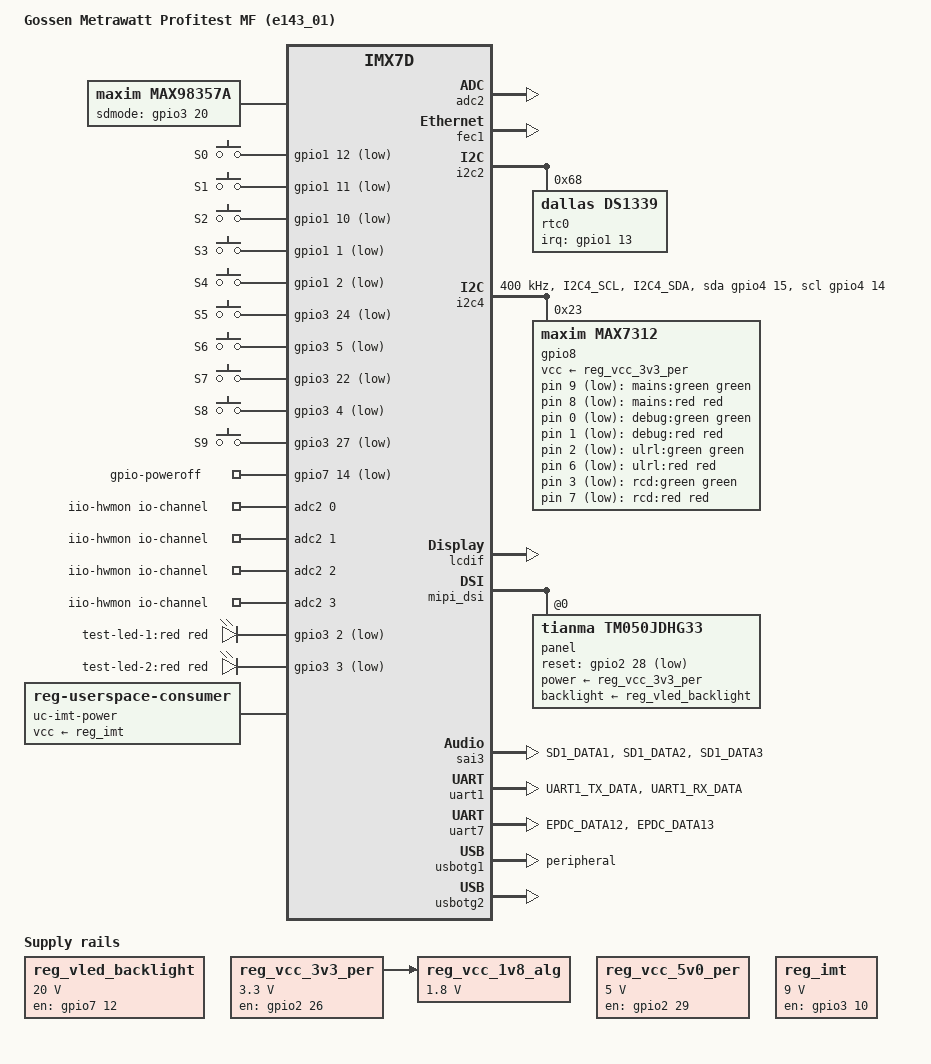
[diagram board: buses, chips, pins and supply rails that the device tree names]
// SPDX-License-Identifier: GPL-2.0-only
/**
 * Copyright (C) 2022 Gossen Metrawatt GmbH
 * Copyright (C) 2022 Marco Felsch, Pengutronix
 * Copyright (C) 2022 Philipp Zabel, Pengutronix
 * Copyright (C) 2022 Roland Hieber, Pengutronix
 */
/dts-v1/;

#include <dt-bindings/gpio/gpio.h>
#include <dt-bindings/input/input.h>
#include <dt-bindings/leds/common.h>
#include "imx7d-var-som-mx7.dtsi"

/ {
	model = "Gossen Metrawatt Profitest MF (e143_01)";
	compatible = "gome,e143_01", "variscite,var-som-mx7", "fsl,imx7d";

	aliases {
		gpio7 = &gpio8;
		rtc0 = &rtc0;
	};

	max98357a: audio-codec {
		compatible = "maxim,max98357a";
		#sound-dai-cells = <0>;
		pinctrl-names = "default";
		pinctrl-0 = <&pinctrl_sdmode>;
		sdmode-gpios = <&gpio3 20 GPIO_ACTIVE_HIGH>; // Pin 60 AUDIO_SHDN_B
	};

	gpio-keys {
		compatible = "gpio-keys";
		pinctrl-names = "default";
		pinctrl-0 = <&pinctrl_gpio_keys>, <&pinctrl_gpio_keys_2>;
		autorepeat;

		button-0 {
			label = "S0";
			gpios = <&gpio1 12 GPIO_ACTIVE_LOW>; // Pin 183 BTN_S0_ESC
			linux,code = <KEY_ESC>;
			wakeup-source;
		};

		button-1 {
			label = "S1";
			gpios = <&gpio1 11 GPIO_ACTIVE_LOW>; // Pin 185 BTN_S1_MEM
			linux,code = <KEY_DOCUMENTS>;
			wakeup-source;
		};

		button-2 {
			label = "S2";
			gpios = <&gpio1 10 GPIO_ACTIVE_LOW>; // Pin 181 BTN_S2_HLP
			linux,code = <KEY_HELP>;
			wakeup-source;
		};

		button-3 {
			label = "S3";
			gpios = <&gpio1 1 GPIO_ACTIVE_LOW>; // Pin 1 BTN_S3_STA
			linux,code = <KEY_PROG1>;
			wakeup-source;
		};

		button-4 {
			label = "S4";
			gpios = <&gpio1 2 GPIO_ACTIVE_LOW>; // Pin 168 BTN_S4_IDN
			linux,code = <KEY_PROG2>;
			wakeup-source;
		};

		button-5 {
			label = "S5";
			gpios = <&gpio3 24 GPIO_ACTIVE_LOW>; // Pin 28 BTN_S5
			linux,code = <KEY_F5>;
		};

		button-6 {
			label = "S6";
			gpios = <&gpio3 5 GPIO_ACTIVE_LOW>; // Pin 40 BTN_S6
			linux,code = <KEY_F6>;
		};

		button-7 {
			label = "S7";
			gpios = <&gpio3 22 GPIO_ACTIVE_LOW>; // Pin 38 BTN_S7
			linux,code = <KEY_F7>;
		};

		button-8 {
			label = "S8";
			gpios = <&gpio3 4 GPIO_ACTIVE_LOW>; // Pin 36 BTN_S8
			linux,code = <KEY_F8>;
		};

		button-9 {
			label = "S9";
			gpios = <&gpio3 27 GPIO_ACTIVE_LOW>; // Pin 20 BTN_S9
			linux,code = <KEY_F9>;
		};
	};

	gpio-poweroff {
		compatible = "gpio-poweroff";
		pinctrl-names = "default";
		pinctrl-0 = <&pinctrl_poweroff>;
		gpios = <&gpio7 14 GPIO_ACTIVE_LOW>; // Pin 7 POWER_OFF_B
		input;
	};

	iio-hwmon {
		compatible = "iio-hwmon";
		io-channels = <&adc2 0>, // ARS_VAL
			      <&adc2 1>, // VBAT_VAL
			      <&adc2 2>, // LCD_BACKLIGHT_VAL
			      <&adc2 3>; // VCC_5V0_FB
	};

	leds {
		compatible = "gpio-leds";
		pinctrl-names = "default";
		pinctrl-0 = <&pinctrl_debug_led>;

		test-led-1 {
			label = "test-led-1:red";
			gpios = <&gpio3 2 GPIO_ACTIVE_LOW>; // Pin 44 LED_TEST1_B
			color = <LED_COLOR_ID_RED>;
			linux,default-trigger = "disk-activity";
		};

		test-led-2 {
			label = "test-led-2:red";
			gpios = <&gpio3 3 GPIO_ACTIVE_LOW>; // Pin 46 LED_TEST2_B
			color = <LED_COLOR_ID_RED>;
			linux,default-trigger = "heartbeat";
		};
	};

	leds2 {
		compatible = "gpio-leds";

		led_netz_gn {
			label = "mains:green";
			gpios = <&gpio8 9 GPIO_ACTIVE_LOW>; // LED_NETZ_GN
			color = <LED_COLOR_ID_GREEN>;
		};

		led_netz_rt {
			label = "mains:red";
			gpios = <&gpio8 8 GPIO_ACTIVE_LOW>; // LED_NETZ_RT
			color = <LED_COLOR_ID_RED>;
			default-state = "on";
		};

		led_debug_gn {
			label = "debug:green";
			gpios = <&gpio8 0 GPIO_ACTIVE_LOW>; // LED_DEBUG_GN
			color = <LED_COLOR_ID_GREEN>;
		};

		led_debug_rt {
			label = "debug:red";
			gpios = <&gpio8 1 GPIO_ACTIVE_LOW>; // LED_DEBUG_RT
			color = <LED_COLOR_ID_RED>;
		};

		led_ul_gn {
			label = "ulrl:green";
			gpios = <&gpio8 2 GPIO_ACTIVE_LOW>; // LED_UL_GN
			color = <LED_COLOR_ID_GREEN>;
		};

		led_ul_rt {
			label = "ulrl:red";
			gpios = <&gpio8 6 GPIO_ACTIVE_LOW>; // LED_UL_RT
			color = <LED_COLOR_ID_RED>;
			default-state = "on";
		};

		led_rcd_gn {
			label = "rcd:green";
			gpios = <&gpio8 3 GPIO_ACTIVE_LOW>; // LED_RCD_GN
			color = <LED_COLOR_ID_GREEN>;
		};

		led_rcd_rt {
			label = "rcd:red";
			gpios = <&gpio8 7 GPIO_ACTIVE_LOW>; // LED_RCD_RT
			color = <LED_COLOR_ID_RED>;
			default-state = "on";
		};
	};

	reg_vled_backlight: regulator-vled-backlight {
		compatible = "regulator-fixed";
		pinctrl-names = "default";
		pinctrl-0 = <&pinctrl_mipi_backlight>;
		regulator-name = "VLED_BACKLIGHT";
		gpio = <&gpio7 12 GPIO_ACTIVE_HIGH>;
		regulator-min-microvolt = <20000000>;
		regulator-max-microvolt = <20000000>;
		enable-active-high;
	};

	reg_vcc_3v3_per: regulator-vcc-3v3-per {
		compatible = "regulator-fixed";
		pinctrl-names = "default";
		pinctrl-0 = <&pinctrl_reg_vcc_3v3_per>;
		regulator-name = "VCC_3V3_PER";
		gpio = <&gpio2 26 GPIO_ACTIVE_HIGH>; // Pin 83 VCC_3V3_PER_EN
		regulator-min-microvolt = <3300000>;
		regulator-max-microvolt = <3300000>;
		regulator-enable-ramp-delay = <30000>;
		enable-active-high;
		regulator-always-on;
	};

	reg_vcc_5v0_per: regulator-vcc-5v0-per {
		compatible = "regulator-fixed";
		pinctrl-names = "default";
		pinctrl-0 = <&pinctrl_reg_vcc_5v0_per>;
		regulator-name = "VCC_5V0_PER";
		gpio = <&gpio2 29 GPIO_ACTIVE_HIGH>; // Pin 75 VCC_5V0_PER_EN
		regulator-min-microvolt = <5000000>;
		regulator-max-microvolt = <5000000>;
		enable-active-high;
		regulator-always-on;
	};

	reg_imt: regulator-imt {
		compatible = "regulator-fixed";
		pinctrl-names = "default";
		pinctrl-0 = <&pinctrl_reg_imt>;
		regulator-name = "VCC_IMT";
		gpio = <&gpio3 10 GPIO_ACTIVE_HIGH>; // Pin 66 MT_EN
		regulator-min-microvolt = <9000000>;
		regulator-max-microvolt = <9000000>;
		enable-active-high;
	};

	reg_vcc_1v8_alg: regulator-vcc-1v8-alg {
		compatible = "regulator-fixed";
		regulator-name = "VCC_1V8_ALG";
		regulator-min-microvolt = <1800000>;
		regulator-max-microvolt = <1800000>;
		vin-supply = <&reg_vcc_3v3_per>;
	};

	sound {
		compatible = "simple-audio-card";
		simple-audio-card,name = "max98357aaudio";
		/delete-property/ simple-audio-card,widgets;
		/delete-property/ simple-audio-card,routing;
		simple-audio-card,format = "i2s";

		simple-audio-card,cpu {
			sound-dai = <&sai3>;
		};

		simple-audio-card,codec {
			sound-dai = <&max98357a>;
		};
	};

	uc-imt-power {
		compatible = "reg-userspace-consumer";
		regulator-name = "reg_imt-consumer";
		regulator-supplies = "vcc";
		vcc-supply = <&reg_imt>;
	};
};

&adc2 {
	status = "okay";
};

&fec1 {
	status = "okay";
};

&i2c2 {
	/delete-node/ wm8731@1a;

	/* DS1339 RTC module */
	rtc0: rtc@68 {
		compatible = "dallas,ds1339";
		reg = <0x68>;
		pinctrl-names = "default";
		pinctrl-0 = <&pinctrl_rtc>;
		trickle-resistor-ohms = <250>;
		interrupt-parent = <&gpio1>;
		interrupts = <13 GPIO_ACTIVE_LOW>; // Pin 120 RTC_INT_B
		wakeup-source;
	};
};

&i2c4 {
	clock-frequency = <400000>;
	pinctrl-names = "default", "gpio";
	pinctrl-0 = <&pinctrl_i2c4>;
	pinctrl-1 = <&pinctrl_i2c4_gpio>;
	scl-gpios = <&gpio4 14 (GPIO_ACTIVE_HIGH | GPIO_OPEN_DRAIN)>; // Pin 175 I2C4_SCL
	sda-gpios = <&gpio4 15 (GPIO_ACTIVE_HIGH | GPIO_OPEN_DRAIN)>; // Pin 173 I2C4_SDA
	status = "okay";
	#address-cells = <1>;
	#size-cells = <0>;

	gpio8: max7312@23 {
		compatible = "maxim,max7312";
		reg = <0x23>;
		gpio-controller;
		#gpio-cells = <2>;
		gpio-line-names = "LED_DEBUG_GN", "LED_DEBUG_RT", "LED_UL_GN", "LED_RCD_GN",
				  "", "", "LED_UL_RT", "LED_RCD_RT",
				  "LED_NETZ_RT", "LED_NETZ_GN", "", "",
				  "DP_HW_CODE_1", "DP_HW_CODE_2", "DP_HW_CODE_3", "DP_HW_CODE_4";
		vcc-supply = <&reg_vcc_3v3_per>;
	};
};

&gpio1 {
	gpio-line-names = "GWDOG_RST_B", "BTN_S3_STA", "BTN_S4_IDN", "",
			  "", "", "", "USB_HOST_PWR_EN",
			  "", "", "BTN_S2_HLP", "BTN_S1_MEM",
			  "BTN_S0_ESC", "RTC_INT_B", "SOM: bt reg on";
};

&gpio2 {
	gpio-line-names = "", "", "", "",
			  "DBG_GPIO1", "DBG_GPIO2", "DBG_GPIO3", "DBG_GPIO4",
			  "", "", "", "",
			  "MT_RXD", "MT_TXD", "", "",
			  "", "", "", "",
			  "", "", "", "",
			  "", "", "VCC_3V3_PER_EN", "",
			  "DSI_RESET", "VCC_5V0_PER_EN";
};

&gpio3 {
	gpio-line-names = "", "", "LED_TEST1_B", "LED_TEST2_B",
			  "BTN_S8", "BTN_S6", "MT_RESET", "",
			  "", "", "MT_EN", "",
			  "", "", "", "",
			  "", "", "", "",
			  "AUDIO_SHDN_B", "", "BTN_S7", "",
			  "BTN_S5", "", "", "BTN_S9",
			  "BATT_LOW";
};

&gpio4 {
	gpio-line-names = "", "", "", "",
			  "", "", "", "",
			  "I2C1_SCL", "I2C1_SDA", "I2C2_SCL", "I2C2_SDA",
			  "", "", "I2C4_SCL", "I2C4_SDA",
			  "", "", "", "",
			  "", "", "", "HIL_SPI_CS0";
};

&gpio5 {
	gpio-line-names = "", "", "", "",
			  "", "", "", "",
			  "", "", "", "SOM: ethphy0 reset";
};

&gpio6 {
	gpio-line-names = "", "", "", "",
			  "", "", "", "",
			  "", "", "", "SOM: sd3_pwr (eMMC)";
};

&gpio7 {
	gpio-line-names = "", "", "", "",
			  "", "", "", "",
			  "", "", "", "",
			  "LCD_BACKLIGHT_EN", "", "POWER_OFF_B";
};

&lcdif {
	assigned-clocks = <&clks IMX7D_LCDIF_PIXEL_ROOT_SRC>,
			  <&clks IMX7D_PLL_VIDEO_POST_DIV>;
	assigned-clock-parents = <&clks IMX7D_PLL_VIDEO_POST_DIV>;
	assigned-clock-rates = <0>, <128000000>;
	fsl,ocram = <&ocram>;
	fsl,pxp = <&pxp>;
	status = "okay";
};

&mipi_dsi {
	samsung,burst-clock-frequency = <850000000>;
	status = "okay";

	panel@0 {
		compatible = "tianma,tm050jdhg33", "ilitek,ili9881c";
		reg = <0>;
		pinctrl-names = "default";
		pinctrl-0 = <&pinctrl_mipi_panel>;
		reset-gpios = <&gpio2 28 GPIO_ACTIVE_LOW>; // Pin 73 DSI_RESET
		power-supply = <&reg_vcc_3v3_per>;
		dsi-lanes = <2>;

		rotation = <90>;

		ilitek,enable-internal-backlight;
		default-brightness = <2047>;
		ilitek,pwm-frequency = <50000>;
		ilitek,backlight-supply = <&reg_vled_backlight>;
	};
};

&sai3 {
	pinctrl-names = "default";
	pinctrl-0 = <&pinctrl_sai3>;
	assigned-clocks = <&clks IMX7D_SAI3_ROOT_SRC>,
			  <&clks IMX7D_SAI3_ROOT_CLK>;
	assigned-clock-parents = <&clks IMX7D_PLL_AUDIO_POST_DIV>;
	assigned-clock-rates = <0>, <36864000>;
	status = "okay";
};

&uart1 {
	pinctrl-names = "default";
	pinctrl-0 = <&pinctrl_uart1>;
	status = "okay";
};

&uart7 {
	pinctrl-names = "default";
	pinctrl-0 = <&pinctrl_uart7>;
	status = "okay";
};

&usbotg1 {
	dr_mode = "peripheral";
	status = "okay";
};

&usbotg2 {
	status = "okay";
};

&iomuxc_lpsr {
	pinctrl_gpio_keys_2: pinctrl_gpio_keys_2grp {
		fsl,pins = <
			MX7D_PAD_LPSR_GPIO1_IO01__GPIO1_IO1        0x0C
			MX7D_PAD_LPSR_GPIO1_IO02__GPIO1_IO2        0x0C
		>;
	};

	pinctrl_usbotg2_pwr: pinctrl_usbotg2_pwrgrp {
		fsl,pins = <
			MX7D_PAD_LPSR_GPIO1_IO07__GPIO1_IO7        0x14
		>;
	};
};

&iomuxc {
	pinctrl_gpio_keys: pinctrl-gpio-keysgrp {
		fsl,pins = <
			MX7D_PAD_GPIO1_IO10__GPIO1_IO10            0x0000000C
			MX7D_PAD_GPIO1_IO11__GPIO1_IO11            0x0000000C
			MX7D_PAD_GPIO1_IO12__GPIO1_IO12            0x0000000C
			MX7D_PAD_LCD_DATA00__GPIO3_IO5             0x0000000C
			MX7D_PAD_LCD_DATA17__GPIO3_IO22            0x0000000C
			MX7D_PAD_LCD_DATA19__GPIO3_IO24            0x0000000C
			MX7D_PAD_LCD_DATA22__GPIO3_IO27            0x0000000C
			MX7D_PAD_LCD_RESET__GPIO3_IO4              0x0000000C
		>;
	};

	pinctrl_i2c4: i2c4grp {
		fsl,pins = <
			MX7D_PAD_I2C4_SCL__I2C4_SCL                0x4000007f
			MX7D_PAD_I2C4_SDA__I2C4_SDA                0x4000007f
		>;
	};

	pinctrl_i2c4_gpio: i2c4-gpiogrp {
		fsl,pins = <
			MX7D_PAD_I2C4_SCL__GPIO4_IO14              0x4000007f
			MX7D_PAD_I2C4_SDA__GPIO4_IO15              0x4000007f
		>;
	};

	pinctrl_mipi_backlight: mipi-backlightgrp {
		fsl,pins = <
			MX7D_PAD_ENET1_TX_CLK__GPIO7_IO12          0x0000001B
		>;
	};

	pinctrl_mipi_panel: mipi-panelgrp {
		fsl,pins = <
			MX7D_PAD_EPDC_BDR0__GPIO2_IO28             0x0000001B /* DSI_RESET */
		>;
	};

	pinctrl_poweroff: pinctrl_poweroffgrp {
		fsl,pins = <
			MX7D_PAD_ENET1_CRS__GPIO7_IO14             0x0000001B
		>;
	};

	pinctrl_reg_vcc_3v3_per: pinctrl_reg_vcc_3v3_pergrp {
		fsl,pins = <
			MX7D_PAD_EPDC_GDRL__GPIO2_IO26             0x0000001B
		>;
	};

	pinctrl_reg_vcc_5v0_per: pinctrl_reg_vcc_5v0_pergrp {
		fsl,pins = <
			MX7D_PAD_EPDC_BDR1__GPIO2_IO29             0x0000001B
		>;
	};

	pinctrl_reg_imt: pinctrl_reg_imtgrp {
		fsl,pins = <
			MX7D_PAD_LCD_DATA05__GPIO3_IO10            0x0000001B
		>;
	};

	pinctrl_rtc: pinctrl_rtcgrp {
		fsl,pins = <
			MX7D_PAD_GPIO1_IO13__GPIO1_IO13            0x0000001B
		>;
	};

	pinctrl_sai3: pinctrl_sai3grp {
		fsl,pins = <
			MX7D_PAD_SD1_DATA1__SAI3_TX_BCLK           0x0000001F
			MX7D_PAD_SD1_DATA2__SAI3_TX_SYNC           0x0000001F
			MX7D_PAD_SD1_DATA3__SAI3_TX_DATA0          0x00000030
		>;
	};

	pinctrl_sdmode: pinctrl_sdmodegrp {
		fsl,pins = <
			MX7D_PAD_LCD_DATA15__GPIO3_IO20            0x0000001F
		>;
	};

	pinctrl_uart1: uart1grp {
		fsl,pins = <
			MX7D_PAD_UART1_TX_DATA__UART1_DCE_TX	0x79 /* DEBUG_UART1_TXD */
			MX7D_PAD_UART1_RX_DATA__UART1_DCE_RX	0x79 /* DEBUG_UART1_RXD */
		>;
	};

	pinctrl_uart7: uart7grp {
		fsl,pins = <
			MX7D_PAD_EPDC_DATA12__UART7_DCE_RX	0x79
			MX7D_PAD_EPDC_DATA13__UART7_DCE_TX	0x79
		>;
	};

	pinctrl_debug_led: pinctrl_debug_ledgrp {
		fsl,pins = <
			MX7D_PAD_LCD_HSYNC__GPIO3_IO2              0x00000003
			MX7D_PAD_LCD_VSYNC__GPIO3_IO3              0x00000003
		>;
	};
};
